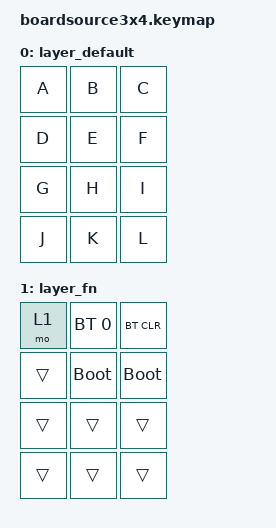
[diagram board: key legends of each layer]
/*
 * Copyright (c) 2020 The ZMK Contributors
 *
 * SPDX-License-Identifier: MIT
 */

#include <dt-bindings/zmk/keys.h>
#include <dt-bindings/zmk/bt.h>

/ {
    keymap {
        compatible = "zmk,keymap";

        layer_default {
            bindings = <
                &kp A   &kp B   &kp C
                &kp D   &kp E   &kp F
                &kp G   &kp H   &kp I
                &kp J   &kp K   &kp L
            >;
        };

        layer_fn {
            bindings = <
                &mo 1       &bt BT_SEL 0  &bt BT_CLR
                &trans      &bootloader   &bootloader
                &trans      &trans        &trans
                &trans      &trans        &trans
            >;
        };
    };
};


